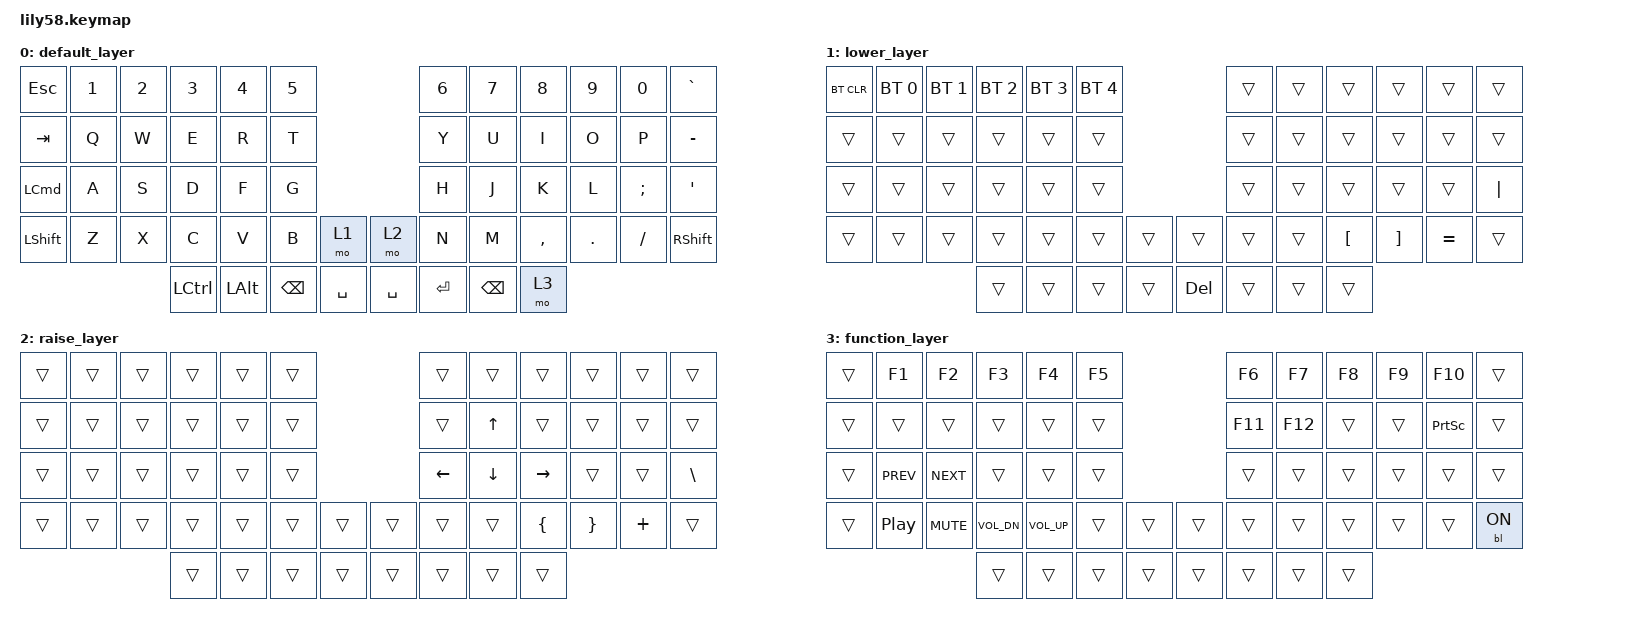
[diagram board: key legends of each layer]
/*
 * Copyright (c) 2020 The ZMK Contributors
 *
 * SPDX-License-Identifier: MIT
 */

#include <behaviors.dtsi>
#include <dt-bindings/zmk/backlight.h>
#include <dt-bindings/zmk/bt.h>
#include <dt-bindings/zmk/keys.h>

/ {
    keymap {
        compatible = "zmk,keymap";

        default_layer {
            // -------------------------------------------------------------------------------------------------------------
            // |  ESC  |  1  |  2  |   3   |   4   |   5   |                  |   6   |  7   |  8   |  9   |   0   |   `   |
            // |  TAB  |  Q  |  W  |   E   |   R   |   T   |                  |   Y   |  U   |  I   |  O   |   P   |   -   |
            // |  CTRL |  A  |  S  |   D   |   F   |   G   |                  |   H   |  J   |  K   |  L   |   ;   |   '   |
            // | SHIFT |  Z  |  X  |   C   |   V   |   B   | PG_DN |  | PG_UP |   N   |  M   |  ,   |  .   |   /   | SHIFT |
            //                     |  ALT  |  GUI  | LOWER | SPACE |  | ENTER | RAISE | BSPC |  FN  |

            bindings = <
&kp ESC           &kp N1  &kp N2  &kp N3            &kp N4        &kp N5                                 &kp N6     &kp N7         &kp N8     &kp N9   &kp N0    &kp GRAVE
&kp TAB           &kp Q   &kp W   &kp E             &kp R         &kp T                                  &kp Y      &kp U          &kp I      &kp O    &kp P     &kp MINUS
&kp LEFT_COMMAND  &kp A   &kp S   &kp D             &kp F         &kp G                                  &kp H      &kp J          &kp K      &kp L    &kp SEMI  &kp SQT
&kp LEFT_SHIFT    &kp Z   &kp X   &kp C             &kp V         &kp B          &mo 1        &mo 2      &kp N      &kp M          &kp COMMA  &kp DOT  &kp FSLH  &kp RSHFT
                                  &kp LEFT_CONTROL  &kp LEFT_ALT  &kp BACKSPACE  &kp SPACE    &kp SPACE  &kp ENTER  &kp BACKSPACE  &mo 3
            >;
        };

        lower_layer {
            // ------------------------------------------------------------------------------------------------------------------
            // | BTCLR |  BT1  |  BT2  |  BT3  |  BT4  |  BT5  |                  |      |      |       |       |       |       |
            // |       |       |       |       |       |       |                  |      |      |       |       |       |       |
            // |       |       |       |       |       |       |                  |      |      |       |       |       |  "|"  |
            // |       |       |       |       |       |       |       |  |       |      |      |   [   |   ]   |   =   |       |
            //                         |       |       |       |       |  |  DEL  |      |      |       |

            bindings = <
&bt BT_CLR  &bt BT_SEL 0  &bt BT_SEL 1  &bt BT_SEL 2  &bt BT_SEL 3  &bt BT_SEL 4                     &trans  &trans  &trans    &trans    &trans     &trans
&trans      &trans        &trans        &trans        &trans        &trans                           &trans  &trans  &trans    &trans    &trans     &trans
&trans      &trans        &trans        &trans        &trans        &trans                           &trans  &trans  &trans    &trans    &trans     &kp PIPE
&trans      &trans        &trans        &trans        &trans        &trans        &trans    &trans   &trans  &trans  &kp LBKT  &kp RBKT  &kp EQUAL  &trans
                                        &trans        &trans        &trans        &trans    &kp DEL  &trans  &trans  &trans
            >;
        };

        raise_layer {
            // ------------------------------------------------------------------------------------------------------------
            // |      |      |      |      |      |      |                  |      |       |       |      |       |       |
            // |      |      |      |      |      |      |                  |      |       |       |      |       |       |
            // |      |      |      |      |      |      |                  |  <-  |   v   |   ^   |  ->  |       |   \   |
            // |      |      |      |      |      |      |       |  |       |      |       |   {   |  }   |   +   |       |
            //                      |      |      |      |       |  |       |      |       |       |

            bindings = <
&trans  &trans  &trans  &trans  &trans  &trans                    &trans    &trans        &trans     &trans    &trans    &trans
&trans  &trans  &trans  &trans  &trans  &trans                    &trans    &kp UP_ARROW  &trans     &trans    &trans    &trans
&trans  &trans  &trans  &trans  &trans  &trans                    &kp LEFT  &kp DOWN      &kp RIGHT  &trans    &trans    &kp BSLH
&trans  &trans  &trans  &trans  &trans  &trans  &trans    &trans  &trans    &trans        &kp LBRC   &kp RBRC  &kp PLUS  &trans
                        &trans  &trans  &trans  &trans    &trans  &trans    &trans        &trans
            >;
        };

        function_layer {
            // ------------------------------------------------------------------------------------------------------------
            // |      |  F1  |  F2  |  F3  |  F4  |  F5  |                  |  F6   |  F7   |  F8  |  F9  |  F10  |       |
            // |      |      |      |      |      |      |                  |  F11  |  F12  |      |      | PSCRN |       |
            // |      | PREV | NEXT |      |      |      |                  |       |       |      |      |       |       |
            // |      | PLAY | MUTE | VOL- | VOL+ |      |       |  |       |       |       |      |      |       |       |
            //                      |      |      |      |       |  |       |       |       |      |

            bindings = <
&trans  &kp F1      &kp F2      &kp F3        &kp F4        &kp F5                    &kp F6   &kp F7   &kp F8  &kp F9  &kp F10    &trans
&trans  &trans      &trans      &trans        &trans        &trans                    &kp F11  &kp F12  &trans  &trans  &kp PSCRN  &trans
&trans  &kp C_PREV  &kp C_NEXT  &trans        &trans        &trans                    &trans   &trans   &trans  &trans  &trans     &trans
&trans  &kp C_PP    &kp C_MUTE  &kp C_VOL_DN  &kp C_VOL_UP  &trans  &trans    &trans  &trans   &trans   &trans  &trans  &trans     &bl BL_ON
                                &trans        &trans        &trans  &trans    &trans  &trans   &trans   &trans
            >;
        };
    };
};
